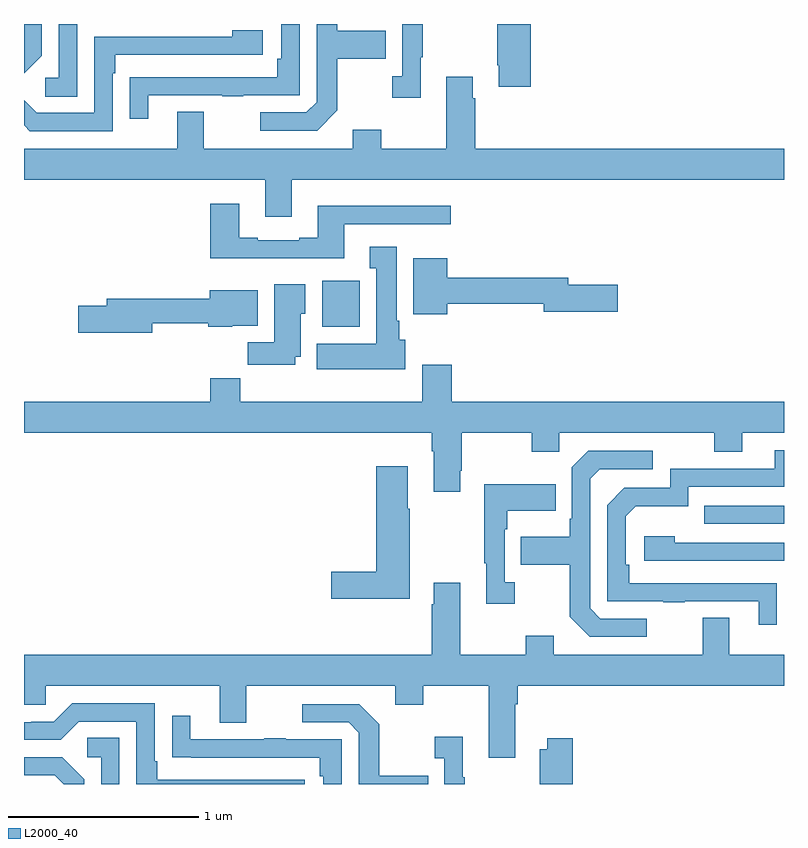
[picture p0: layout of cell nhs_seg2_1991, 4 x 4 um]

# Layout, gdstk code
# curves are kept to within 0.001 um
import gdstk
lib = gdstk.Library(unit=1e-6, precision=1e-09)
def R(c, l, rs):  # rectangles x0, y0, x1, y1
    for r in rs: c.add(gdstk.rectangle(r[:2], r[2:], *l))
def P(c, l, *ps):  # polygons
    for p in ps: c.add(gdstk.Polygon(p, *l))
L2000_40 = (2000, 40)

nhs_seg2_1991 = lib.new_cell('nhs_seg2_1991')
R(nhs_seg2_1991, L2000_40, [(218.581,635.169,219,635.265), (216.569,636.206,216.766,636.448)])
P(nhs_seg2_1991, L2000_40, [(215.28,637.8),(215.184,637.8),(215.184,637.518),(215.112,637.518),(215.112,637.417),(215.28,637.417)],
  [(215.653,637.425),(216.043,637.425),(216.043,637.42),(216.155,637.42),(216.155,637.425),(216.45,637.425),(216.45,637.8),(216.354,637.8),(216.354,637.618),(216.334,637.618),(216.334,637.521),(215.659,637.521),(215.659,637.52),(215.557,637.52),(215.557,637.302),(215.653,637.302)],
  [(216.649,637.345),(216.649,637.618),(216.905,637.618),(216.905,637.765),(216.649,637.765),(216.649,637.8),(216.54,637.8),(216.54,637.389),(216.486,637.335),(216.243,637.335),(216.243,637.239),(216.543,637.239)],
  [(215.094,637.634),(215.094,637.8),(215,637.8),(215,637.54)],
  [(217.667,637.8),(217.492,637.8),(217.492,637.582),(217.499,637.582),(217.499,637.47),(217.667,637.47)],
  [(217.087,637.625),(217.099,637.625),(217.099,637.8),(216.99,637.8),(216.99,637.526),(216.939,637.526),(216.939,637.413),(217.087,637.413)],
  [(215.466,637.541),(215.479,637.541),(215.479,637.638),(216.256,637.638),(216.256,637.768),(216.095,637.768),(216.095,637.734),(215.37,637.734),(215.37,637.332),(215.067,637.332),(215,637.399),(215,637.267),(215.031,637.236),(215.466,637.236)],
  [(216.409,636.98),(219,636.98),(219,637.144),(217.376,637.144),(217.376,637.409),(217.363,637.409),(217.363,637.522),(217.223,637.522),(217.223,637.144),(216.879,637.144),(216.879,637.243),(216.731,637.243),(216.731,637.144),(215.947,637.144),(215.947,637.339),(215.807,637.339),(215.807,637.144),(215,637.144),(215,636.98),(216.269,636.98),(216.269,636.786),(216.409,636.786)],
  [(216.685,636.747),(217.246,636.747),(217.246,636.844),(216.545,636.844),(216.545,636.676),(216.449,636.676),(216.449,636.663),(216.229,636.663),(216.229,636.676),(216.133,636.676),(216.133,636.853),(215.981,636.853),(215.981,636.566),(216.685,636.566)],
  [(217.006,636.138),(216.976,636.138),(216.976,636.238),(216.961,636.238),(216.961,636.628),(216.821,636.628),(216.821,636.515),(216.854,636.515),(216.854,636.118),(216.542,636.118),(216.542,635.984),(217.006,635.984)],
  [(217.228,636.328),(217.736,636.328),(217.736,636.286),(218.125,636.286),(218.125,636.428),(217.864,636.428),(217.864,636.464),(217.228,636.464),(217.228,636.568),(217.049,636.568),(217.049,636.272),(217.228,636.272)],
  [(216.427,636.05),(216.457,636.05),(216.457,636.276),(216.481,636.276),(216.481,636.43),(216.317,636.43),(216.317,636.124),(216.178,636.124),(216.178,636.006),(216.427,636.006)],
  [(215.674,636.225),(215.971,636.225),(215.971,636.206),(216.096,636.206),(216.096,636.212),(216.229,636.212),(216.229,636.4),(215.978,636.4),(215.978,636.353),(215.435,636.353),(215.435,636.317),(215.286,636.317),(215.286,636.175),(215.674,636.175)],
  [(217.297,635.449),(217.305,635.449),(217.305,635.648),(217.672,635.648),(217.672,635.549),(217.818,635.549),(217.818,635.648),(218.632,635.648),(218.632,635.549),(218.779,635.549),(218.779,635.648),(219,635.648),(219,635.812),(217.25,635.812),(217.25,636.007),(217.097,636.007),(217.097,635.812),(216.137,635.812),(216.137,635.936),(215.981,635.936),(215.981,635.812),(215,635.812),(215,635.648),(217.145,635.648),(217.145,635.552),(217.157,635.552),(217.157,635.337),(217.297,635.337)],
  [(218.963,634.856),(218.186,634.857),(218.186,634.954),(218.166,634.954),(218.166,635.208),(218.219,635.261),(218.496,635.261),(218.496,635.364),(219,635.364),(219,635.556),(218.951,635.556),(218.951,635.46),(218.4,635.46),(218.4,635.358),(218.16,635.358),(218.07,635.268),(218.07,634.761),(218.365,634.761),(218.365,634.756),(218.477,634.756),(218.477,634.761),(218.867,634.761),(218.867,634.638),(218.963,634.638)],
  [(218.278,634.671),(218.034,634.671),(217.98,634.725),(217.98,635.406),(218.031,635.457),(218.308,635.457),(218.308,635.553),(217.971,635.553),(217.884,635.466),(217.884,635.197),(217.872,635.197),(217.872,635.101),(217.615,635.101),(217.615,634.954),(217.872,634.954),(217.872,634.681),(217.977,634.575),(218.278,634.575)],
  [(217.029,635.249),(217.021,635.249),(217.021,635.473),(216.854,635.473),(216.854,634.916),(216.618,634.916),(216.618,634.774),(217.029,634.774)],
  [(217.582,634.862),(217.53,634.862),(217.53,635.141),(217.543,635.141),(217.543,635.237),(217.799,635.237),(217.799,635.377),(217.422,635.377),(217.422,634.961),(217.433,634.961),(217.433,634.749),(217.582,634.749)],
  [(219,635.07),(218.426,635.07),(218.426,635.104),(218.265,635.104),(218.265,634.974),(219,634.974)],
  [(217.585,634.22),(217.598,634.22),(217.598,634.316),(219,634.316),(219,634.48),(218.713,634.48),(218.713,634.675),(218.573,634.675),(218.573,634.48),(217.789,634.48),(217.789,634.579),(217.642,634.579),(217.642,634.48),(217.297,634.48),(217.297,634.858),(217.157,634.858),(217.157,634.745),(217.145,634.745),(217.145,634.48),(215,634.48),(215,634.218),(215.115,634.218),(215.115,634.316),(216.029,634.316),(216.029,634.122),(216.169,634.122),(216.169,634.316),(216.953,634.316),(216.953,634.217),(217.101,634.217),(217.101,634.316),(217.445,634.316),(217.445,633.939),(217.585,633.939)],
  [(216.478,633.822),(215.701,633.822),(215.701,633.919),(215.688,633.919),(215.688,634.224),(215.253,634.224),(215.157,634.128),(215.039,634.128),(215.039,634.125),(215,634.125),(215,634.032),(215.193,634.032),(215.289,634.128),(215.592,634.128),(215.592,633.8),(216.478,633.8)],
  [(217.127,633.843),(216.871,633.843),(216.871,634.115),(216.765,634.221),(216.465,634.221),(216.465,634.125),(216.708,634.125),(216.762,634.071),(216.762,633.8),(217.127,633.8)],
  [(216.672,634.035),(216.377,634.035),(216.377,634.04),(216.265,634.04),(216.265,634.035),(215.875,634.035),(215.875,634.159),(215.779,634.159),(215.779,633.94),(215.881,633.94),(215.881,633.939),(216.556,633.939),(216.556,633.842),(216.576,633.842),(216.576,633.8),(216.672,633.8)],
  [(217.321,633.835),(217.309,633.835),(217.309,634.048),(217.161,634.048),(217.161,633.935),(217.212,633.935),(217.212,633.8),(217.321,633.8)],
  [(215.502,634.043),(215.334,634.043),(215.334,633.942),(215.406,633.942),(215.406,633.8),(215.502,633.8)],
  [(217.889,634.042),(217.754,634.042),(217.754,633.982),(217.714,633.982),(217.714,633.8),(217.889,633.8)],
  [(215.316,633.826),(215.2,633.942),(215,633.942),(215,633.846),(215.162,633.846),(215.208,633.8),(215.316,633.8)])

lib.write_gds('nhs_seg2_1991.gds')
